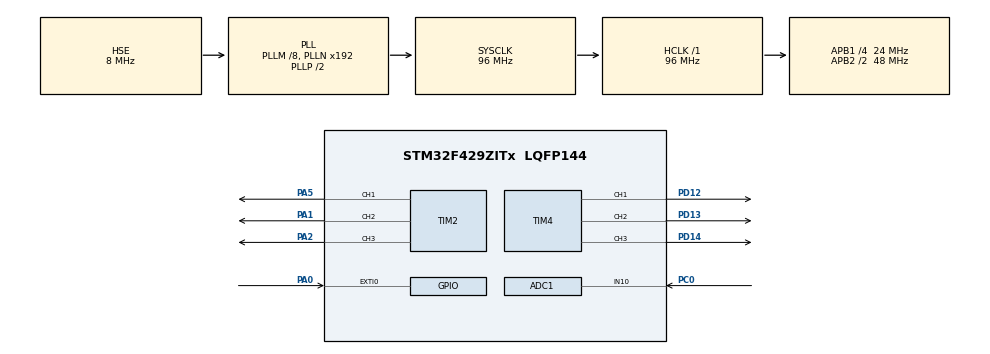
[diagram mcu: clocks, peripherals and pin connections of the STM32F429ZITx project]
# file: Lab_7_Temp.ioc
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ADC1.Channel-0\#ChannelRegularConversion=ADC_CHANNEL_10
ADC1.NbrOfConversionFlag=1
ADC1.Rank-0\#ChannelRegularConversion=1
ADC1.SamplingTime-0\#ChannelRegularConversion=ADC_SAMPLETIME_3CYCLES
ADC1.master=1
FREERTOS.Tasks01=defaultTask,8,128,StartDefaultTask,Default,NULL,Dynamic,NULL,NULL;myTask02,9,128,StartTask02,Default,NULL,Dynamic,NULL,NULL;myTask03,10,128,StartTask03,Default,NULL,Dynamic,NULL,NULL
Mcu.Family=STM32F4
Mcu.Name=STM32F429ZITx
Mcu.Package=LQFP144
NVIC.EXTI0_IRQn=true\:5\:0\:false\:false\:true\:true\:true\:true\:true
NVIC.PriorityGroup=NVIC_PRIORITYGROUP_4
NVIC.TIM4_IRQn=true\:5\:0\:false\:false\:true\:true\:true\:true\:true
PA0/WKUP.Signal=GPXTI0
PA1.Signal=S_TIM2_CH2
PA13.Mode=Serial_Wire
PA13.Signal=SYS_JTMS-SWDIO
PA14.Mode=Serial_Wire
PA14.Signal=SYS_JTCK-SWCLK
PA2.Signal=S_TIM2_CH3
PA5.Signal=S_TIM2_CH1_ETR
PC0.Signal=ADCx_IN10
PD12.Signal=S_TIM4_CH1
PD13.Signal=S_TIM4_CH2
PD14.Signal=S_TIM4_CH3
PH0/OSC_IN.Mode=HSE-External-Oscillator
PH0/OSC_IN.Signal=RCC_OSC_IN
PH1/OSC_OUT.Mode=HSE-External-Oscillator
PH1/OSC_OUT.Signal=RCC_OSC_OUT
ProjectManager.HeapSize=0x200
ProjectManager.StackSize=0x400
ProjectManager.TargetToolchain=STM32CubeIDE
RCC.48MHZClocksFreq_Value=48000000
RCC.AHBFreq_Value=96000000
RCC.APB1CLKDivider=RCC_HCLK_DIV4
RCC.APB1Freq_Value=24000000
RCC.APB1TimFreq_Value=48000000
RCC.APB2CLKDivider=RCC_HCLK_DIV2
RCC.APB2Freq_Value=48000000
RCC.APB2TimFreq_Value=96000000
RCC.CortexFreq_Value=96000000
RCC.HCLKFreq_Value=96000000
RCC.HSE_VALUE=8000000
RCC.HSI_VALUE=16000000
RCC.LSE_VALUE=32768
RCC.PLLM=8
RCC.PLLSourceVirtual=RCC_PLLSOURCE_HSE
RCC.SYSCLKFreq_VALUE=96000000
RCC.SYSCLKSource=RCC_SYSCLKSOURCE_PLLCLK
RCC.VCOOutputFreq_Value=192000000
SH.ADCx_IN10.0=ADC1_IN10,IN10
SH.S_TIM2_CH1_ETR.0=TIM2_CH1,Output Compare1 CH1
SH.S_TIM2_CH2.0=TIM2_CH2,Output Compare2 CH2
SH.S_TIM2_CH3.0=TIM2_CH3,Output Compare3 CH3
SH.S_TIM4_CH1.0=TIM4_CH1,Output Compare1 CH1
SH.S_TIM4_CH2.0=TIM4_CH2,Output Compare2 CH2
SH.S_TIM4_CH3.0=TIM4_CH3,Output Compare3 CH3
TIM2.Channel-Output\ Compare1\ CH1=TIM_CHANNEL_1
TIM2.Channel-Output\ Compare2\ CH2=TIM_CHANNEL_2
TIM2.Channel-Output\ Compare3\ CH3=TIM_CHANNEL_3
TIM4.Channel-Output\ Compare1\ CH1=TIM_CHANNEL_1
TIM4.Channel-Output\ Compare2\ CH2=TIM_CHANNEL_2
TIM4.Channel-Output\ Compare3\ CH3=TIM_CHANNEL_3
VP_FREERTOS_VS_CMSIS_V2.Mode=CMSIS_V2
board=custom

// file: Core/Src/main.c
/* USER CODE BEGIN Header */
/**
  ******************************************************************************
  * @file           : main.c
  * @brief          : Main program body
  ******************************************************************************
  * @attention
  *
  * Copyright (c) 2026 STMicroelectronics.
  * All rights reserved.
  *
  * This software is licensed under terms that can be found in the LICENSE file
  * in the root directory of this software component.
  * If no LICENSE file comes with this software, it is provided AS-IS.
  *
  ******************************************************************************
  */
/* USER CODE END Header */
#include "main.h"
#include "cmsis_os.h"

/* USER CODE BEGIN Includes */
#include "music.h"
#include <stdint.h>
/* USER CODE END Includes */

ADC_HandleTypeDef hadc1;

TIM_HandleTypeDef htim2;
TIM_HandleTypeDef htim4;

/* Definitions for Record */
osThreadId_t RecordHandle;
const osThreadAttr_t Record_attributes = {
  .name = "Record",
  .stack_size = 256 * 4,
  .priority = (osPriority_t) osPriorityLow2,
};

/* Definitions for Playback */
osThreadId_t PlaybackHandle;
const osThreadAttr_t Playback_attributes = {
  .name = "Playback",
  .stack_size = 256 * 4,
  .priority = (osPriority_t) osPriorityLow1,
};

/* Definitions for Temperature */
osThreadId_t TemperatureHandle;
const osThreadAttr_t Temperature_attributes = {
  .name = "Temperature",
  .stack_size = 256 * 4,
  .priority = (osPriority_t) osPriorityLow3,
};

/* Queue for EXTI0 button events and playback events */
osMessageQueueId_t AudioQueueHandle;
const osMessageQueueAttr_t AudioQueue_attributes = {
  .name = "AudioQueue"
};

/* USER CODE BEGIN PV */

#define RECORD_SECONDS      10U
#define SAMPLES_PER_SEC     8000U
#define RECORD_SIZE         (RECORD_SECONDS * SAMPLES_PER_SEC)

#define ADC_CH_MIC          10U      /* PC0 = ADC1_IN10 */
#define ADC_CH_TEMP         16U      /* internal temperature sensor */

#define PWM_ARR_VALUE       2099U
#define TIM2_BASE_PSC       83U      /* 84 MHz / (83 + 1) = 1 MHz */
#define TIM2_BASE_ARR       124U     /* 1 MHz / (124 + 1) = 8000 Hz */

#define OWNER_BACKGROUND   0U
#define OWNER_RECORD       1U
#define OWNER_PLAYBACK     2U

typedef enum {
    MSG_START_RECORD = 1,
    MSG_PLAYBACK_READY
} message_type_t;

typedef struct {
    message_type_t type;
    uint32_t param;
} message_t;

/*
 * 12-bit samples from ADC are stored here.
 * RECORD_SIZE = 10 sec * 8000 samples/sec = 80000 samples.
 * uint16_t buffer size = 160 KB.
 */
uint16_t record_buffer[RECORD_SIZE];

volatile uint32_t record_index = 0;
volatile uint32_t recorded_size = 0;
volatile uint32_t sample_index = 0;

volatile uint8_t recording = 0;
volatile uint8_t audio_tick = 0;

volatile uint8_t playback_owner = OWNER_BACKGROUND;
volatile float current_temperature = 25.0f;
/* USER CODE END PV */

void SystemClock_Config(void);
static void MX_GPIO_Init(void);
static void MX_TIM4_Init(void);
static void MX_ADC1_Init(void);
static void MX_TIM2_Init(void);
void StartRecord(void *argument);
void StartPlayback(void *argument);
void StartTemperature(void *argument);

/* USER CODE BEGIN PFP */
static void RegisterPeripheralConfig(void);
static void ADC_SelectChannel(uint32_t channel, uint32_t sample_time);
static uint16_t ADC_ReadRaw(uint32_t channel, uint32_t sample_time);
static float ReadTemperature(void);
static void TIM2_SetARR(uint32_t arr);
static uint32_t TemperatureToARR(float temperature);
/* USER CODE END PFP */

/* USER CODE BEGIN 0 */
static void RegisterPeripheralConfig(void)
{
    /*
     * GPIO clocks:
     * PA0  - button EXTI0
     * PC0  - microphone ADC1_IN10
     * PD12 - TIM4_CH1 PWM output
     * PG13/PG14 - LEDs
     */
    RCC->AHB1ENR |= RCC_AHB1ENR_GPIOAEN |
                    RCC_AHB1ENR_GPIOCEN |
                    RCC_AHB1ENR_GPIODEN |
                    RCC_AHB1ENR_GPIOGEN;

    RCC->APB1ENR |= RCC_APB1ENR_TIM2EN |
                    RCC_APB1ENR_TIM4EN;

    RCC->APB2ENR |= RCC_APB2ENR_ADC1EN |
                    RCC_APB2ENR_SYSCFGEN;

    __DSB();

    /* -------------------- PA0 button -> EXTI0 -------------------- */
    GPIOA->MODER &= ~GPIO_MODER_MODER0;      /* input */
    GPIOA->PUPDR &= ~GPIO_PUPDR_PUPD0;

    SYSCFG->EXTICR[0] &= ~SYSCFG_EXTICR1_EXTI0;  /* EXTI0 = PA0 */
    EXTI->IMR  |= EXTI_IMR_MR0;
    EXTI->RTSR |= EXTI_RTSR_TR0;              /* rising edge */
    EXTI->FTSR &= ~EXTI_FTSR_TR0;
    EXTI->PR = EXTI_PR_PR0;

    NVIC_SetPriority(EXTI0_IRQn, 6);
    NVIC_EnableIRQ(EXTI0_IRQn);

    /* -------------------- PC0 microphone input -------------------- */
    GPIOC->MODER |= GPIO_MODER_MODER0;        /* analog mode */
    GPIOC->PUPDR &= ~GPIO_PUPDR_PUPD0;

    /* -------------------- PG13/PG14 LEDs -------------------- */
    GPIOG->MODER &= ~(GPIO_MODER_MODER13 | GPIO_MODER_MODER14);
    GPIOG->MODER |=  (GPIO_MODER_MODER13_0 | GPIO_MODER_MODER14_0);
    GPIOG->OTYPER &= ~(GPIO_OTYPER_OT13 | GPIO_OTYPER_OT14);
    GPIOG->PUPDR  &= ~(GPIO_PUPDR_PUPD13 | GPIO_PUPDR_PUPD14);

    /* -------------------- PD12 = TIM4_CH1 AF2 -------------------- */
    GPIOD->MODER &= ~GPIO_MODER_MODER12;
    GPIOD->MODER |=  GPIO_MODER_MODER12_1;    /* alternate function */

    GPIOD->AFR[1] &= ~(0xFU << ((12U - 8U) * 4U));
    GPIOD->AFR[1] |=  (0x2U << ((12U - 8U) * 4U));  /* AF2 = TIM4 */

    /*
     * -------------------- TIM4 PWM CH1 --------------------
     * APB1 timer clock = 84 MHz.
     * PWM frequency = 84 MHz / (2099 + 1) = 40 kHz.
     * CCR1 defines duty cycle.
     */
    TIM4->PSC = 0;
    TIM4->ARR = PWM_ARR_VALUE;
    TIM4->CCR1 = 0;

    TIM4->CCMR1 &= ~(TIM_CCMR1_CC1S | TIM_CCMR1_OC1M);
    TIM4->CCMR1 |= (6U << TIM_CCMR1_OC1M_Pos);  /* PWM mode 1 */
    TIM4->CCMR1 |= TIM_CCMR1_OC1PE;             /* preload enable */

    TIM4->CCER |= TIM_CCER_CC1E;                /* enable CH1 output */
    TIM4->CR1  |= TIM_CR1_ARPE;
    TIM4->EGR   = TIM_EGR_UG;
    TIM4->CR1  |= TIM_CR1_CEN;

    /*
     * -------------------- TIM2 sample timer --------------------
     * 84 MHz / (83 + 1) = 1 MHz.
     * 1 MHz / (124 + 1) = 8000 Hz.
     * TIM2 interrupt sets audio_tick.
     */
    TIM2->PSC = TIM2_BASE_PSC;
    TIM2->ARR = TIM2_BASE_ARR;
    TIM2->CNT = 0;
    TIM2->DIER |= TIM_DIER_UIE;
    TIM2->EGR = TIM_EGR_UG;

    NVIC_SetPriority(TIM2_IRQn, 2);
    NVIC_EnableIRQ(TIM2_IRQn);

    TIM2->CR1 |= TIM_CR1_CEN;

    /*
     * -------------------- ADC1 --------------------
     * Single conversion, software start.
     * Channels are switched manually:
     * ADC1_IN10 - microphone
     * channel 16 - internal temperature sensor
     */
    ADC->CCR |= ADC_CCR_TSVREFE;               /* temperature sensor/Vref enable */
    ADC->CCR &= ~ADC_CCR_ADCPRE;
    ADC->CCR |= (1U << ADC_CCR_ADCPRE_Pos);    /* PCLK2 / 4 */

    ADC1->CR1 = 0;
    ADC1->CR2 = 0;

    ADC1->CR1 &= ~ADC_CR1_SCAN;
    ADC1->CR2 &= ~ADC_CR2_ALIGN;               /* right alignment */
    ADC1->CR2 &= ~ADC_CR2_EXTEN;               /* software trigger */
    ADC1->SQR1 &= ~ADC_SQR1_L;                 /* one conversion */

    ADC1->SMPR1 |= (7U << ADC_SMPR1_SMP16_Pos); /* temp sensor: 480 cycles */
    ADC1->SMPR1 |= (3U << ADC_SMPR1_SMP10_Pos); /* mic channel 10: 56 cycles */

    ADC1->CR2 |= ADC_CR2_ADON;
}

static void ADC_SelectChannel(uint32_t channel, uint32_t sample_time)
{
    if (channel <= 9U) {
        uint32_t shift = channel * 3U;
        ADC1->SMPR2 &= ~(7U << shift);
        ADC1->SMPR2 |=  (sample_time << shift);
    } else {
        uint32_t shift = (channel - 10U) * 3U;
        ADC1->SMPR1 &= ~(7U << shift);
        ADC1->SMPR1 |=  (sample_time << shift);
    }

    ADC1->SQR3 = channel;
}

static uint16_t ADC_ReadRaw(uint32_t channel, uint32_t sample_time)
{
    ADC_SelectChannel(channel, sample_time);

    ADC1->SR &= ~ADC_SR_EOC;
    ADC1->CR2 |= ADC_CR2_SWSTART;

    while ((ADC1->SR & ADC_SR_EOC) == 0U) {
        /* wait conversion */
    }

    return (uint16_t)(ADC1->DR & 0x0FFFU);
}

static float ReadTemperature(void)
{
    uint16_t adc_val = ADC_ReadRaw(ADC_CH_TEMP, 7U); /* 480 cycles */

    /*
     * Typical STM32F4 formula:
     * Vsense = ADC * Vref / 4096
     * Temp = ((Vsense - 0.76) / 0.0025) + 25
     */
    float voltage = ((float)adc_val * 3.3f) / 4096.0f;
    return ((voltage - 0.76f) / 0.0025f) + 25.0f;
}

static void TIM2_SetARR(uint32_t arr)
{
    TIM2->CR1 &= ~TIM_CR1_CEN;
    TIM2->ARR = arr;
    TIM2->CNT = 0;
    TIM2->EGR = TIM_EGR_UG;
    TIM2->CR1 |= TIM_CR1_CEN;
}

static uint32_t TemperatureToARR(float temperature)
{
    /*
     * Чем выше температура, тем быстрее воспроизведение,
     * значит ARR меньше, а частота sampling выше.
     */
    float factor = 1.0f + (temperature - 25.0f) * 0.f;

    if (factor < 0.5f) factor = 0.5f;
    if (factor > 2.0f) factor = 2.0f;

    uint32_t arr = (uint32_t)((float)TIM2_BASE_ARR / factor);

    if (arr < 10U) arr = 10U;
    if (arr > 500U) arr = 500U;

    return arr;
}

/* USER CODE END 0 */

int main(void)
{

  /* MCU Configuration--------------------------------------------------------*/

  /* Reset of all peripherals, Initializes the Flash interface and the Systick. */
  HAL_Init();

  /* Configure the system clock */
  SystemClock_Config();

  /* Initialize all configured peripherals */
  MX_GPIO_Init();
  MX_TIM4_Init();
  MX_ADC1_Init();
  MX_TIM2_Init();
  /* USER CODE BEGIN 2 */
  RegisterPeripheralConfig();
  /* USER CODE END 2 */

  /* Init scheduler */
  osKernelInitialize();
  AudioQueueHandle = osMessageQueueNew(5, sizeof(message_t), &AudioQueue_attributes);

  RecordHandle = osThreadNew(StartRecord, NULL, &Record_attributes);
  PlaybackHandle = osThreadNew(StartPlayback, NULL, &Playback_attributes);
  TemperatureHandle = osThreadNew(StartTemperature, NULL, &Temperature_attributes);

  osKernelStart();

  /* We should never get here as control is now taken by the scheduler */

  /* Infinite loop */
  while (1)
  {

  }
}

void SystemClock_Config(void)
{
  RCC_OscInitTypeDef RCC_OscInitStruct = {0};
  RCC_ClkInitTypeDef RCC_ClkInitStruct = {0};

  /** Configure the main internal regulator output voltage
  */
  __HAL_RCC_PWR_CLK_ENABLE();
  __HAL_PWR_VOLTAGESCALING_CONFIG(PWR_REGULATOR_VOLTAGE_SCALE3);

  /** Initializes the RCC Oscillators according to the specified parameters
  * in the RCC_OscInitTypeDef structure.
  */
  RCC_OscInitStruct.OscillatorType = RCC_OSCILLATORTYPE_HSE;
  RCC_OscInitStruct.HSEState = RCC_HSE_ON;
  RCC_OscInitStruct.PLL.PLLState = RCC_PLL_ON;
  RCC_OscInitStruct.PLL.PLLSource = RCC_PLLSOURCE_HSE;
  RCC_OscInitStruct.PLL.PLLM = 8;
  RCC_OscInitStruct.PLL.PLLN = 192;
  RCC_OscInitStruct.PLL.PLLP = RCC_PLLP_DIV2;
  RCC_OscInitStruct.PLL.PLLQ = 4;
  if (HAL_RCC_OscConfig(&RCC_OscInitStruct) != HAL_OK)
  {
    Error_Handler();
  }

  /** Initializes the CPU, AHB and APB buses clocks
  */
  RCC_ClkInitStruct.ClockType = RCC_CLOCKTYPE_HCLK|RCC_CLOCKTYPE_SYSCLK
                              |RCC_CLOCKTYPE_PCLK1|RCC_CLOCKTYPE_PCLK2;
  RCC_ClkInitStruct.SYSCLKSource = RCC_SYSCLKSOURCE_PLLCLK;
  RCC_ClkInitStruct.AHBCLKDivider = RCC_SYSCLK_DIV1;
  RCC_ClkInitStruct.APB1CLKDivider = RCC_HCLK_DIV4;
  RCC_ClkInitStruct.APB2CLKDivider = RCC_HCLK_DIV2;

  if (HAL_RCC_ClockConfig(&RCC_ClkInitStruct, FLASH_LATENCY_3) != HAL_OK)
  {
    Error_Handler();
  }
}

static void MX_ADC1_Init(void)
{

  ADC_ChannelConfTypeDef sConfig = {0};

  /** Configure the global features of the ADC (Clock, Resolution, Data Alignment and number of conversion)
  */
  hadc1.Instance = ADC1;
  hadc1.Init.ClockPrescaler = ADC_CLOCK_SYNC_PCLK_DIV2;
  hadc1.Init.Resolution = ADC_RESOLUTION_12B;
  hadc1.Init.ScanConvMode = DISABLE;
  hadc1.Init.ContinuousConvMode = DISABLE;
  hadc1.Init.DiscontinuousConvMode = DISABLE;
  hadc1.Init.ExternalTrigConvEdge = ADC_EXTERNALTRIGCONVEDGE_NONE;
  hadc1.Init.ExternalTrigConv = ADC_SOFTWARE_START;
  hadc1.Init.DataAlign = ADC_DATAALIGN_RIGHT;
  hadc1.Init.NbrOfConversion = 1;
  hadc1.Init.DMAContinuousRequests = DISABLE;
  hadc1.Init.EOCSelection = ADC_EOC_SINGLE_CONV;
  if (HAL_ADC_Init(&hadc1) != HAL_OK)
  {
    Error_Handler();
  }

  /** Configure for the selected ADC regular channel its corresponding rank in the sequencer and its sample time.
  */
  sConfig.Channel = ADC_CHANNEL_10;
  sConfig.Rank = 1;
  sConfig.SamplingTime = ADC_SAMPLETIME_3CYCLES;
  if (HAL_ADC_ConfigChannel(&hadc1, &sConfig) != HAL_OK)
  {
    Error_Handler();
  }

}

static void MX_TIM2_Init(void)
{

  TIM_MasterConfigTypeDef sMasterConfig = {0};
  TIM_OC_InitTypeDef sConfigOC = {0};

  htim2.Instance = TIM2;
  htim2.Init.Prescaler = 0;
  htim2.Init.CounterMode = TIM_COUNTERMODE_UP;
  htim2.Init.Period = 4294967295;
  htim2.Init.ClockDivision = TIM_CLOCKDIVISION_DIV1;
  htim2.Init.AutoReloadPreload = TIM_AUTORELOAD_PRELOAD_DISABLE;
  if (HAL_TIM_OC_Init(&htim2) != HAL_OK)
  {
    Error_Handler();
  }
  sMasterConfig.MasterOutputTrigger = TIM_TRGO_RESET;
  sMasterConfig.MasterSlaveMode = TIM_MASTERSLAVEMODE_DISABLE;
  if (HAL_TIMEx_MasterConfigSynchronization(&htim2, &sMasterConfig) != HAL_OK)
  {
    Error_Handler();
  }
  sConfigOC.OCMode = TIM_OCMODE_TIMING;
  sConfigOC.Pulse = 0;
  sConfigOC.OCPolarity = TIM_OCPOLARITY_HIGH;
  sConfigOC.OCFastMode = TIM_OCFAST_DISABLE;
  if (HAL_TIM_OC_ConfigChannel(&htim2, &sConfigOC, TIM_CHANNEL_1) != HAL_OK)
  {
    Error_Handler();
  }
  if (HAL_TIM_OC_ConfigChannel(&htim2, &sConfigOC, TIM_CHANNEL_2) != HAL_OK)
  {
    Error_Handler();
  }
  if (HAL_TIM_OC_ConfigChannel(&htim2, &sConfigOC, TIM_CHANNEL_3) != HAL_OK)
  {
    Error_Handler();
  }
  HAL_TIM_MspPostInit(&htim2);

}

static void MX_TIM4_Init(void)
{

  TIM_MasterConfigTypeDef sMasterConfig = {0};
  TIM_OC_InitTypeDef sConfigOC = {0};

  htim4.Instance = TIM4;
  htim4.Init.Prescaler = 0;
  htim4.Init.CounterMode = TIM_COUNTERMODE_UP;
  htim4.Init.Period = 65535;
  htim4.Init.ClockDivision = TIM_CLOCKDIVISION_DIV1;
  htim4.Init.AutoReloadPreload = TIM_AUTORELOAD_PRELOAD_DISABLE;
  if (HAL_TIM_OC_Init(&htim4) != HAL_OK)
  {
    Error_Handler();
  }
  sMasterConfig.MasterOutputTrigger = TIM_TRGO_RESET;
  sMasterConfig.MasterSlaveMode = TIM_MASTERSLAVEMODE_DISABLE;
  if (HAL_TIMEx_MasterConfigSynchronization(&htim4, &sMasterConfig) != HAL_OK)
  {
    Error_Handler();
  }
  sConfigOC.OCMode = TIM_OCMODE_TIMING;
  sConfigOC.Pulse = 0;
  sConfigOC.OCPolarity = TIM_OCPOLARITY_HIGH;
  sConfigOC.OCFastMode = TIM_OCFAST_DISABLE;
  if (HAL_TIM_OC_ConfigChannel(&htim4, &sConfigOC, TIM_CHANNEL_1) != HAL_OK)
  {
    Error_Handler();
  }
  if (HAL_TIM_OC_ConfigChannel(&htim4, &sConfigOC, TIM_CHANNEL_2) != HAL_OK)
  {
    Error_Handler();
  }
  if (HAL_TIM_OC_ConfigChannel(&htim4, &sConfigOC, TIM_CHANNEL_3) != HAL_OK)
  {
    Error_Handler();
  }
  HAL_TIM_MspPostInit(&htim4);

}

static void MX_GPIO_Init(void)
{
  GPIO_InitTypeDef GPIO_InitStruct = {0};

  /* GPIO Ports Clock Enable */
  __HAL_RCC_GPIOH_CLK_ENABLE();
  __HAL_RCC_GPIOC_CLK_ENABLE();
  __HAL_RCC_GPIOA_CLK_ENABLE();
  __HAL_RCC_GPIOD_CLK_ENABLE();

  /*Configure GPIO pin : PA0 */
  GPIO_InitStruct.Pin = GPIO_PIN_0;
  GPIO_InitStruct.Mode = GPIO_MODE_IT_RISING;
  GPIO_InitStruct.Pull = GPIO_NOPULL;
  HAL_GPIO_Init(GPIOA, &GPIO_InitStruct);

  /* EXTI interrupt init*/
  HAL_NVIC_SetPriority(EXTI0_IRQn, 5, 0);
  HAL_NVIC_EnableIRQ(EXTI0_IRQn);

}

void StartRecord(void *argument)
{
  /* USER CODE BEGIN 5 */
  /* Infinite loop */
  message_t msg;

  for (;;)
  {
	  if (playback_owner == OWNER_RECORD)
	  {
		  osMessageQueueGet(AudioQueueHandle, &msg, NULL, osWaitForever);

	      if (msg.type == MSG_START_RECORD)
	      {
	    	  GPIOG->BSRR = GPIO_BSRR_BS13;  /* green ON */
	          GPIOG->BSRR = GPIO_BSRR_BR14;  /* red OFF */

	          record_index = 0;
	          recorded_size = 0;
	          recording = 1;

	          while (recording && (record_index < RECORD_SIZE))
	          {
	        	  if (audio_tick) {
	        		  audio_tick = 0;
	        		  record_buffer[record_index++] = ADC_ReadRaw(ADC_CH_MIC, 3U);
	              }
	          }

	          recording = 0;
	          recorded_size = record_index;

	          if (recorded_size > 0U) {
	        	  msg.type = MSG_PLAYBACK_READY;
	              msg.param = recorded_size;

	              playback_owner = OWNER_PLAYBACK;
	              osMessageQueuePut(AudioQueueHandle, &msg, 0, 0);
	          } else {
	        	  playback_owner = OWNER_BACKGROUND;
	          }
	       }
	   }
	   else
	   {
		   osDelay(1);
	   }
  }
  /* USER CODE END 5 */
}

void StartPlayback(void *argument)
{
  /* USER CODE BEGIN StartTask02 */
  /* Infinite loop */
  message_t msg;
  uint32_t play_index = 0;

  for (;;)
  {
	  if (playback_owner == OWNER_PLAYBACK)
	  {
		  osMessageQueueGet(AudioQueueHandle, &msg, NULL, osWaitForever);

	      if (msg.type == MSG_PLAYBACK_READY)
	      {
	    	  uint32_t play_size = msg.param;

	          current_temperature = ReadTemperature();

	          uint32_t new_arr = TemperatureToARR(current_temperature);
	          TIM2_SetARR(new_arr);

	          GPIOG->BSRR = GPIO_BSRR_BR13;  /* green OFF */
	          GPIOG->BSRR = GPIO_BSRR_BS14;  /* red ON */

	          play_index = 0;

	          while (play_index < play_size)
	          {
	        	  if (audio_tick) {
	        		  audio_tick = 0;

	                  uint16_t sample = record_buffer[play_index++];
	                  TIM4->CCR1 = ((uint32_t)sample * (PWM_ARR_VALUE + 1U)) / 4096U;
	        	  }
	          }

	          TIM4->CCR1 = 0;

	          TIM2_SetARR(TIM2_BASE_ARR);

	          playback_owner = OWNER_BACKGROUND;
	          sample_index = 0;
	      }
	  }
	  else if (playback_owner == OWNER_BACKGROUND)
	  {
		/*
		 * Фоновый звук: показывает, что PWM выход работает,
		 * пока не идёт запись или воспроизведение записанного фрагмента.
		 */
		  if (audio_tick) {
			  audio_tick = 0;

	          if (MUSIC_SIZE > 0U) {
	        	  uint8_t sample = music_data[sample_index++];
	              TIM4->CCR1 = ((uint32_t)sample * (PWM_ARR_VALUE + 1U)) / 256U;

	              if (sample_index >= MUSIC_SIZE) {
	            	  sample_index = 0;
	              }
	          }
		  }
	  }
	  else
	  {
		  osDelay(1);
	  }
  }
  /* USER CODE END StartTask02 */
}

void StartTemperature(void *argument)
{
  /* USER CODE BEGIN StartTask03 */
  /* Infinite loop */
  for(;;)
  {
	  /* ADC не трогаем во время записи, чтобы не конфликтовать с микрофоном*/
	  if (playback_owner == OWNER_BACKGROUND && recording == 0U) {
		  current_temperature = ReadTemperature();
	  }

	  osDelay(1000);
  }
  /* USER CODE END StartTask03 */
}

void Error_Handler(void)
{
  __disable_irq();
  while (1)
  {
  }
}
